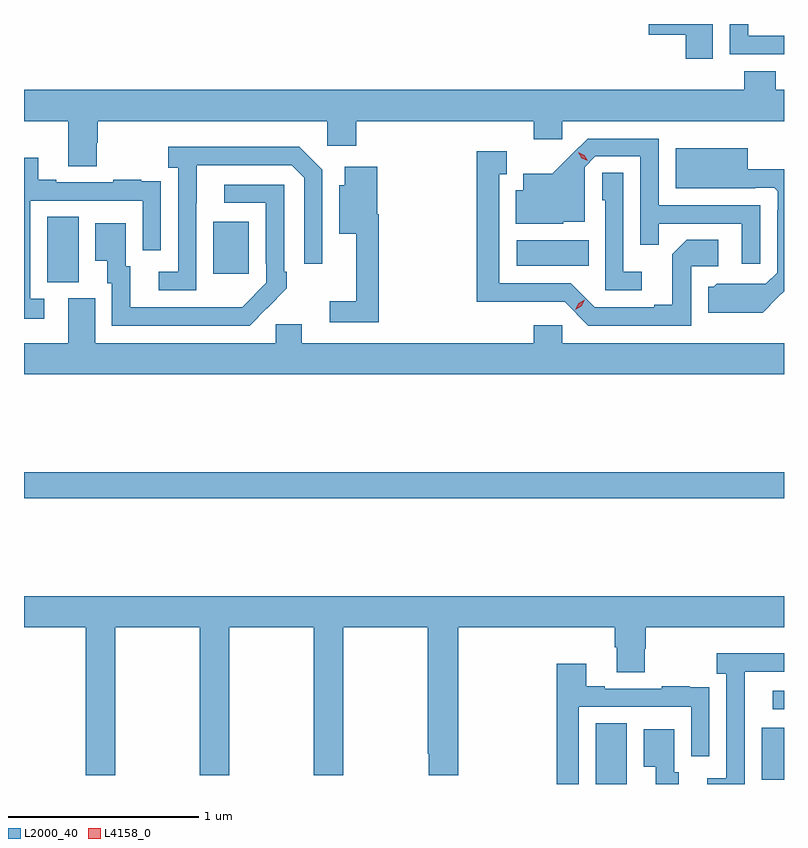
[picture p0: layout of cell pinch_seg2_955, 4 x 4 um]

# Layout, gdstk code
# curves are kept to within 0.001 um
import gdstk
lib = gdstk.Library(unit=1e-6, precision=1e-09)
def R(c, l, rs):  # rectangles x0, y0, x1, y1
    for r in rs: c.add(gdstk.rectangle(r[:2], r[2:], *l))
def P(c, l, *ps):  # polygons
    for p in ps: c.add(gdstk.Polygon(p, *l))
L2000_40 = (2000, 40)
L4158_0 = (4158, 0)

pinch_seg2_955 = lib.new_cell('pinch_seg2_955')
R(pinch_seg2_955, L2000_40, [(339.146,622.835,339.31,623.156), (340.019,622.857,340.137,623.131), (340.077,623.229,340.137,623.325), (336.137,624.34,340.137,624.476), (336.26,625.477,336.424,625.82), (337.133,625.521,337.321,625.795), (338.73,625.562,339.11,625.696)])
P(pinch_seg2_955, L2000_40, [(339.763,626.835),(339.424,626.835),(339.424,626.778),(339.62,626.778),(339.62,626.652),(339.763,626.652)],
  [(340.137,626.772),(339.948,626.772),(339.948,626.835),(339.852,626.835),(339.852,626.676),(340.137,626.676)],
  [(336.519,626.211),(336.524,626.211),(336.524,626.324),(337.734,626.324),(337.734,626.193),(337.886,626.193),(337.886,626.324),(338.819,626.324),(338.819,626.229),(338.97,626.229),(338.97,626.324),(340.137,626.324),(340.137,626.488),(340.094,626.488),(340.094,626.587),(339.929,626.587),(339.929,626.488),(336.137,626.488),(336.137,626.324),(336.371,626.324),(336.371,626.086),(336.519,626.086)],
  [(340.011,625.881),(339.477,625.881),(339.477,626.232),(339.104,626.232),(338.917,626.047),(338.765,626.047),(338.765,625.96),(338.726,625.96),(338.726,625.784),(338.976,625.784),(338.976,625.793),(339.087,625.793),(339.087,626.082),(339.144,626.139),(339.381,626.139),(339.381,625.672),(339.479,625.672),(339.479,625.785),(339.915,625.785),(339.915,625.572),(340.011,625.572)],
  [(337.044,625.891),(337.045,626.091),(337.545,626.091),(337.611,626.025),(337.611,625.572),(337.707,625.572),(337.707,626.067),(337.586,626.188),(336.897,626.188),(336.897,626.078),(336.948,626.078),(336.948,625.53),(336.846,625.53),(336.846,625.434),(337.044,625.434)],
  [(340.105,625.397),(340.137,625.429),(340.137,626.071),(339.946,626.071),(339.946,626.182),(339.566,626.182),(339.566,625.97),(339.986,625.97),(339.986,625.974),(340.086,625.974),(340.104,625.956),(340.104,625.856),(340.101,625.856),(340.101,625.527),(340.041,625.467),(339.784,625.468),(339.768,625.452),(339.737,625.452),(339.737,625.316),(340.025,625.316)],
  [(339.648,625.56),(339.79,625.56),(339.79,625.7),(339.625,625.7),(339.549,625.624),(339.549,625.357),(339.455,625.357),(339.455,625.344),(339.141,625.344),(339.015,625.47),(338.638,625.47),(338.638,626.043),(338.677,626.043),(338.677,626.164),(338.52,626.164),(338.52,625.373),(338.982,625.374),(339.108,625.248),(339.648,625.248)],
  [(336.244,625.389),(336.171,625.389),(336.171,625.905),(336.762,625.905),(336.762,625.644),(336.858,625.644),(336.858,625.898),(336.857,625.898),(336.857,626.007),(336.755,626.007),(336.755,626.014),(336.607,626.014),(336.607,626.001),(336.307,626.001),(336.307,626.014),(336.211,626.014),(336.211,626.131),(336.137,626.131),(336.137,625.284),(336.244,625.284)],
  [(338.003,625.834),(337.997,625.834),(337.997,626.083),(337.826,626.083),(337.826,625.987),(337.796,625.987),(337.796,625.73),(337.886,625.73),(337.886,625.375),(337.746,625.375),(337.746,625.266),(338.003,625.266)],
  [(339.388,625.531),(339.291,625.531),(339.291,626.051),(339.18,626.051),(339.18,625.908),(339.195,625.908),(339.195,625.434),(339.388,625.434)],
  [(337.415,625.339),(337.416,625.338),(337.521,625.443),(337.521,625.531),(337.506,625.531),(337.506,625.989),(337.191,625.989),(337.191,625.893),(337.41,625.893),(337.41,625.573),(337.413,625.573),(337.413,625.473),(337.285,625.345),(336.697,625.344),(336.697,625.56),(336.673,625.56),(336.673,625.786),(336.512,625.786),(336.512,625.589),(336.575,625.589),(336.575,625.47),(336.6,625.47),(336.6,625.248),(337.324,625.248)],
  [(340.137,625.156),(338.97,625.156),(338.97,625.249),(338.819,625.249),(338.819,625.156),(337.6,625.156),(337.6,625.254),(337.461,625.254),(337.461,625.156),(336.511,625.156),(336.511,625.392),(336.371,625.392),(336.371,625.156),(336.137,625.156),(336.137,624.992),(340.137,624.992)],
  [(336.137,623.66),(336.463,623.66),(336.463,622.881),(336.618,622.881),(336.618,623.66),(337.063,623.66),(337.063,622.881),(337.218,622.881),(337.218,623.66),(337.663,623.66),(337.663,622.881),(337.818,622.881),(337.818,623.66),(338.263,623.66),(338.263,622.993),(338.267,622.993),(338.267,622.881),(338.423,622.881),(338.423,623.66),(339.245,623.66),(339.245,623.554),(339.257,623.554),(339.257,623.422),(339.405,623.422),(339.405,623.547),(339.41,623.547),(339.41,623.66),(340.137,623.66),(340.137,623.824),(336.137,623.824)],
  [(339.93,623.227),(339.931,623.227),(339.931,623.427),(340.137,623.427),(340.137,623.524),(339.783,623.524),(339.783,623.414),(339.834,623.414),(339.834,622.866),(339.732,622.866),(339.732,622.835),(339.93,622.835)],
  [(339.057,623.241),(339.648,623.241),(339.648,622.98),(339.744,622.98),(339.744,623.234),(339.743,623.234),(339.743,623.343),(339.641,623.343),(339.641,623.35),(339.493,623.35),(339.493,623.337),(339.193,623.337),(339.193,623.35),(339.097,623.35),(339.097,623.467),(338.941,623.467),(338.941,622.835),(339.057,622.835)],
  [(339.583,622.896),(339.559,622.896),(339.559,623.122),(339.398,623.122),(339.398,622.925),(339.461,622.925),(339.461,622.835),(339.583,622.835)])
P(pinch_seg2_955, L4158_0, [(339.103,626.114),(339.072,626.129),(339.054,626.159),(339.054,626.159),(339.054,626.159),(339.085,626.144),(339.103,626.114),(339.103,626.114)],
  [(339.038,625.332),(339.038,625.332),(339.056,625.364),(339.088,625.383),(339.089,625.383),(339.089,625.383),(339.071,625.35),(339.039,625.332)])

lib.write_gds('pinch_seg2_955.gds')
